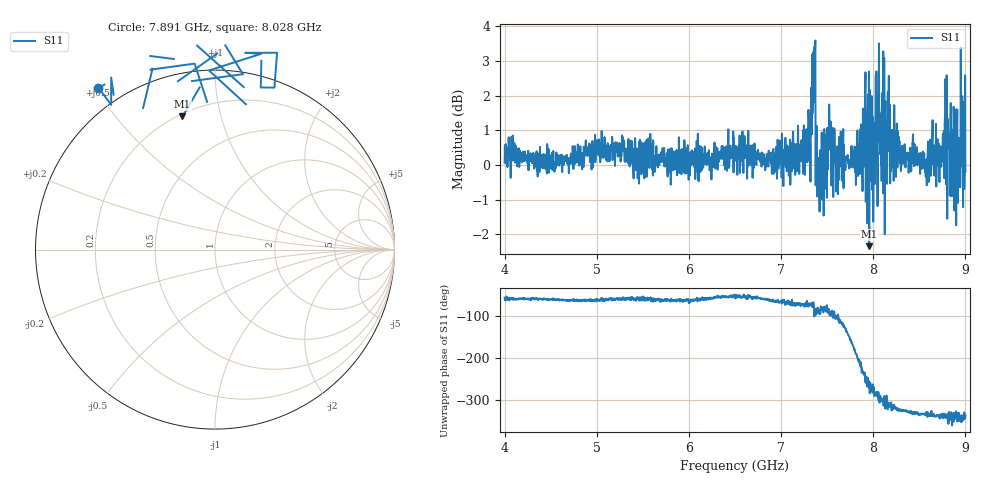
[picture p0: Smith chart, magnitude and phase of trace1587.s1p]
! Created with skrf 1.8.0 (http://scikit-rf.org).
# Hz S RI R 50.0
!freq ReS11 ImS11
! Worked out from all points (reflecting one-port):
!   1601 points, 4 GHz to 9 GHz, reference 50 ohm
!   lowest |S11| = -2.3 dB at 7.956 GHz (marker M1), VSWR 7.45, Z = 10.7 + j38.1 ohm
!   phase of S11 starts at -55 deg and turns -281 deg over the sweep
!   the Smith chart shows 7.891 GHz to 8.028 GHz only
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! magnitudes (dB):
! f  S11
! 4 GHz  0.1
! 4.625 GHz  -0.2
! 5.25 GHz  0.3
! 5.875 GHz  0.1
! 6.5 GHz  0.1
! 7.125 GHz  0.5
! 7.294 GHz  0.2
! 7.347 GHz  3.3
! 7.362 GHz  3.4
! 7.4 GHz  -0.4
! 7.412 GHz  -0.5
! 7.472 GHz  0.0
! 7.512 GHz  1.0
! 7.591 GHz  0.1
! 7.65 GHz  0.8
! 7.75 GHz  -0.1
! 7.859 GHz  1.0
! 7.928 GHz  0.5
! 7.956 GHz  -2.3
! 8.047 GHz  -1.2
! 8.134 GHz  0.7
! 8.209 GHz  0.6
! 8.375 GHz  0.3
! 8.725 GHz  0.2
! 8.8 GHz  0.6
! 8.922 GHz  0.1
! 8.972 GHz  0.4
! 9 GHz  -0.2
